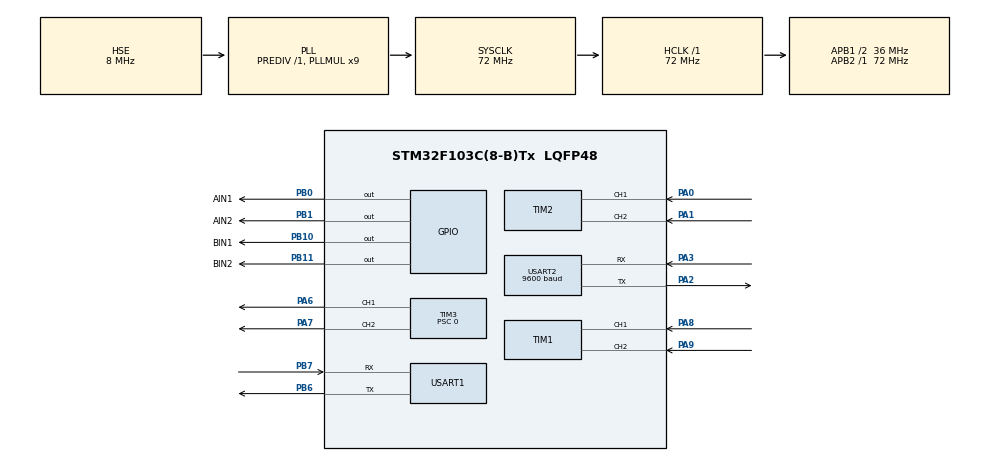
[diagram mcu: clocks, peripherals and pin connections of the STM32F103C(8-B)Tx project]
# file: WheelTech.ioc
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Dma.Request0=USART1_RX
Dma.Request1=USART2_RX
Dma.USART1_RX.0.Direction=DMA_PERIPH_TO_MEMORY
Dma.USART1_RX.0.Instance=DMA1_Channel5
Dma.USART1_RX.0.MemDataAlignment=DMA_MDATAALIGN_BYTE
Dma.USART1_RX.0.MemInc=DMA_MINC_ENABLE
Dma.USART1_RX.0.Mode=DMA_CIRCULAR
Dma.USART1_RX.0.PeriphDataAlignment=DMA_PDATAALIGN_BYTE
Dma.USART1_RX.0.PeriphInc=DMA_PINC_DISABLE
Dma.USART1_RX.0.Priority=DMA_PRIORITY_MEDIUM
Dma.USART2_RX.1.Direction=DMA_PERIPH_TO_MEMORY
Dma.USART2_RX.1.Instance=DMA1_Channel6
Dma.USART2_RX.1.MemDataAlignment=DMA_MDATAALIGN_BYTE
Dma.USART2_RX.1.MemInc=DMA_MINC_ENABLE
Dma.USART2_RX.1.Mode=DMA_NORMAL
Dma.USART2_RX.1.PeriphDataAlignment=DMA_PDATAALIGN_BYTE
Dma.USART2_RX.1.PeriphInc=DMA_PINC_DISABLE
Dma.USART2_RX.1.Priority=DMA_PRIORITY_LOW
Mcu.Family=STM32F1
Mcu.Name=STM32F103C(8-B)Tx
Mcu.Package=LQFP48
NVIC.DMA1_Channel5_IRQn=true\:0\:0\:false\:false\:true\:false\:true\:true
NVIC.DMA1_Channel6_IRQn=true\:0\:0\:false\:false\:true\:false\:true\:true
NVIC.PriorityGroup=NVIC_PRIORITYGROUP_4
NVIC.TIM4_IRQn=true\:0\:0\:false\:false\:true\:true\:true\:true
NVIC.USART1_IRQn=true\:0\:0\:false\:false\:true\:true\:true\:true
NVIC.USART2_IRQn=true\:0\:0\:false\:false\:true\:true\:true\:true
PA0-WKUP.Signal=S_TIM2_CH1_ETR
PA1.Signal=S_TIM2_CH2
PA13.Mode=Serial_Wire
PA13.Signal=SYS_JTMS-SWDIO
PA14.Mode=Serial_Wire
PA14.Signal=SYS_JTCK-SWCLK
PA2.Mode=Asynchronous
PA2.Signal=USART2_TX
PA3.Mode=Asynchronous
PA3.Signal=USART2_RX
PA6.Signal=S_TIM3_CH1
PA7.Signal=S_TIM3_CH2
PA8.Signal=S_TIM1_CH1
PA9.Signal=S_TIM1_CH2
PB0.GPIO_Label=AIN1
PB0.GPIO_PuPd=GPIO_PULLDOWN
PB0.Signal=GPIO_Output
PB1.GPIO_Label=AIN2
PB1.GPIO_ModeDefaultOutputPP=GPIO_MODE_OUTPUT_PP
PB1.GPIO_PuPd=GPIO_PULLDOWN
PB1.Signal=GPIO_Output
PB10.GPIO_Label=BIN1
PB10.GPIO_PuPd=GPIO_PULLDOWN
PB10.Signal=GPIO_Output
PB11.GPIO_Label=BIN2
PB11.GPIO_PuPd=GPIO_PULLDOWN
PB11.Signal=GPIO_Output
PB6.Mode=Asynchronous
PB6.Signal=USART1_TX
PB7.Mode=Asynchronous
PB7.Signal=USART1_RX
PD0-OSC_IN.Mode=HSE-External-Oscillator
PD0-OSC_IN.Signal=RCC_OSC_IN
PD1-OSC_OUT.Mode=HSE-External-Oscillator
PD1-OSC_OUT.Signal=RCC_OSC_OUT
ProjectManager.HeapSize=0x200
ProjectManager.StackSize=0x400
ProjectManager.TargetToolchain=CMake
RCC.AHBFreq_Value=72000000
RCC.APB1CLKDivider=RCC_HCLK_DIV2
RCC.APB1Freq_Value=36000000
RCC.APB1TimFreq_Value=72000000
RCC.APB2Freq_Value=72000000
RCC.APB2TimFreq_Value=72000000
RCC.HCLKFreq_Value=72000000
RCC.PLLMUL=RCC_PLL_MUL9
RCC.PLLSourceVirtual=RCC_PLLSOURCE_HSE
RCC.SYSCLKFreq_VALUE=72000000
RCC.SYSCLKSource=RCC_SYSCLKSOURCE_PLLCLK
RCC.USBFreq_Value=72000000
SH.S_TIM1_CH1.0=TIM1_CH1,Encoder_Interface
SH.S_TIM1_CH2.0=TIM1_CH2,Encoder_Interface
SH.S_TIM2_CH1_ETR.0=TIM2_CH1,Encoder_Interface
SH.S_TIM2_CH2.0=TIM2_CH2,Encoder_Interface
SH.S_TIM3_CH1.0=TIM3_CH1,PWM Generation1 CH1
SH.S_TIM3_CH2.0=TIM3_CH2,PWM Generation2 CH2
TIM1.EncoderMode=TIM_ENCODERMODE_TI12
TIM1.IC1Filter=0
TIM1.IC2Filter=0
TIM2.EncoderMode=TIM_ENCODERMODE_TI12
TIM2.IC1Filter=0
TIM3.Channel-PWM\ Generation1\ CH1=TIM_CHANNEL_1
TIM3.Channel-PWM\ Generation2\ CH2=TIM_CHANNEL_2
TIM3.Period=3599
TIM3.Prescaler=0
TIM4.Period=99
TIM4.Prescaler=7199 
USART1.VirtualMode=VM_ASYNC
USART2.BaudRate=9600
USART2.VirtualMode=VM_ASYNC
VP_TIM4_VS_ClockSourceINT.Mode=Internal
board=custom

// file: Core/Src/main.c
/* USER CODE BEGIN Header */
/**
  ******************************************************************************
  * @file           : main.c
  * @brief          : Main program body
  ******************************************************************************
  * @attention
  *
  * Copyright (c) 2026 STMicroelectronics.
  * All rights reserved.
  *
  * This software is licensed under terms that can be found in the LICENSE file
  * in the root directory of this software component.
  * If no LICENSE file comes with this software, it is provided AS-IS.
  *
  ******************************************************************************
  */
/* USER CODE END Header */
#include "main.h"
#include "dma.h"
#include "tim.h"
#include "usart.h"
#include "gpio.h"

/* USER CODE BEGIN Includes */
#include <stdio.h>
#include <string.h>
#include <stdlib.h>
#include "../../Bsp/Inc/motor.h"
#include "../../Bsp/Inc/timer.h"
#include "../../App/Inc/MoveManager_C.h"
#include "../../Bsp/Inc/parseK230.h"
#include "../../Bsp/Inc/parseBluetooth.h"
/* USER CODE END Includes */

void SystemClock_Config(void);

/* USER CODE BEGIN 0 */
// int __io_putchar(int ch) {
//   HAL_UART_Transmit(&huart2, (uint8_t *)&ch, 1, 0xFFFF);
//   return ch;
// }
//
// int _write(int file, char *ptr, int len) {
//   HAL_UART_Transmit(&huart2, (uint8_t *)ptr, len, 0xFFFF);
//   return len;
// }

/* USER CODE END 0 */

int main(void)
{

  /* MCU Configuration--------------------------------------------------------*/

  /* Reset of all peripherals, Initializes the Flash interface and the Systick. */
  HAL_Init();

  /* Configure the system clock */
  SystemClock_Config();

  /* Initialize all configured peripherals */
  MX_GPIO_Init();
  MX_DMA_Init();
  MX_TIM1_Init();
  MX_TIM2_Init();
  MX_TIM3_Init();
  MX_TIM4_Init();
  MX_USART2_UART_Init();
  MX_USART1_UART_Init();
  /* USER CODE BEGIN 2 */
  uint32_t last_tick = 0;
  MoveManager_Init();

  parseK230Init();
  parseBluetoothInit();

  /* USER CODE END 2 */

  /* Infinite loop */
  while (1)
  {

  }
}

void SystemClock_Config(void)
{
  RCC_OscInitTypeDef RCC_OscInitStruct = {0};
  RCC_ClkInitTypeDef RCC_ClkInitStruct = {0};

  /** Initializes the RCC Oscillators according to the specified parameters
  * in the RCC_OscInitTypeDef structure.
  */
  RCC_OscInitStruct.OscillatorType = RCC_OSCILLATORTYPE_HSE;
  RCC_OscInitStruct.HSEState = RCC_HSE_ON;
  RCC_OscInitStruct.HSEPredivValue = RCC_HSE_PREDIV_DIV1;
  RCC_OscInitStruct.HSIState = RCC_HSI_ON;
  RCC_OscInitStruct.PLL.PLLState = RCC_PLL_ON;
  RCC_OscInitStruct.PLL.PLLSource = RCC_PLLSOURCE_HSE;
  RCC_OscInitStruct.PLL.PLLMUL = RCC_PLL_MUL9;
  if (HAL_RCC_OscConfig(&RCC_OscInitStruct) != HAL_OK)
  {
    Error_Handler();
  }

  /** Initializes the CPU, AHB and APB buses clocks
  */
  RCC_ClkInitStruct.ClockType = RCC_CLOCKTYPE_HCLK|RCC_CLOCKTYPE_SYSCLK
                              |RCC_CLOCKTYPE_PCLK1|RCC_CLOCKTYPE_PCLK2;
  RCC_ClkInitStruct.SYSCLKSource = RCC_SYSCLKSOURCE_PLLCLK;
  RCC_ClkInitStruct.AHBCLKDivider = RCC_SYSCLK_DIV1;
  RCC_ClkInitStruct.APB1CLKDivider = RCC_HCLK_DIV2;
  RCC_ClkInitStruct.APB2CLKDivider = RCC_HCLK_DIV1;

  if (HAL_RCC_ClockConfig(&RCC_ClkInitStruct, FLASH_LATENCY_2) != HAL_OK)
  {
    Error_Handler();
  }
}

/* USER CODE BEGIN 4 */
void HAL_TIM_PeriodElapsedCallback(TIM_HandleTypeDef* htim) {
  if (htim->Instance == TIM4) {
    updateTimer();
    updateAllMotor();
    MoveManager_Update();
  }
}

void HAL_UARTEx_RxEventCallback(UART_HandleTypeDef *huart, uint16_t Size)
{
  if (huart->Instance == USART1) {
    updateK230Data(huart, Size);
  }
  if (huart->Instance == USART2)
  {
    updateBluetoothData();
  }
}

/* USER CODE END 4 */

void Error_Handler(void)
{
  __disable_irq();
  while (1)
  {
  }
}
